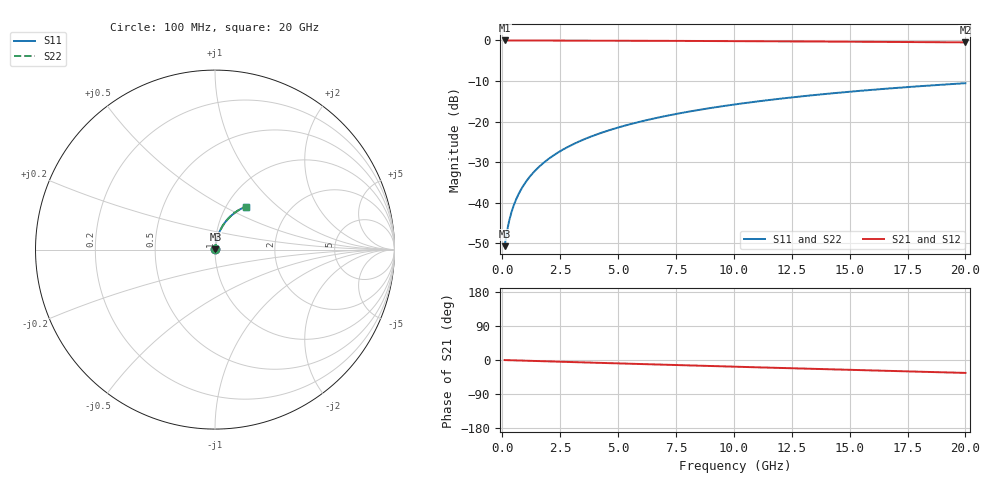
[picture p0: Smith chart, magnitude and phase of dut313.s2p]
! Touchstone file exported from HFSS 2026.1.0
!  File:  C:/ffzhzh/LocalFiles/Ansys_Project_Files/temp_train_TMRDL_313_1783003310_46388.aedt
!  Generated:  10:43:07 PM Jul  2, 2026
!  Design:  TMRDL
!  Project:  temp_train_TMRDL_313_1783003310_46388
! Variables:
!  h_bsmrdl = 2um
!  h_ox = 20um
!  h_rdl = 5um
!  h_sub = 80um
!  h_tmrdl = 4.65um
!  h_tsv = 80um
!  h_via = 3um
!  l_bsmrdl = 300um
!  l_sub = 906.75um
!  l_tmrdl = 506.75um
!  m_sub = 200um
!  pitch = 40.27um
!  r_tsv = 6um
!  s_tmrdl = 10um
!  w_bsmrdl = 18um
!  w_sub = 500um
!  w_tmrdl = 18.71um
!  x_tsv_center1 = 516.105um
!  x_tsv_center2 = 834.105um
!  x_tsv_center3 = 1359.565um
!  x_tsv_center4 = 1677.565um
!  x_tsv_center5 = 2203.025um
!  x_tsv_center6 = 2521.025um
# GHz S MA R 50.000000
! Terminal data exported
! Port[1] = TM_RDL1_1_T1
! Port[2] = TM_RDL1_1_T2
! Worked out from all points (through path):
!   200 points, 100 MHz to 20 GHz, reference 50 ohm
!   highest |S21| = -0.02 dB at 100 MHz (marker M1); lowest = -0.5 dB at 20 GHz (marker M2)
!   group delay of S21, straight-line fit = 4.73 ps
!   lowest |S11| = -50.7 dB at 100 MHz (marker M3), VSWR 1.01, Z = 50.2 + j0.19 ohm
!   |S11| at or under -10 dB: start of sweep to end of sweep
!   |S22| runs from -50.7 to -10.6 dB; largest |S21 - S12| = 3.5e-15
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0.1  0.002914 40.5  0.9978 -0.2  0.9978 -0.2  0.002914 40.5
! Gamma 0 0 0 0
! Port Impedance 50 0 50 0
0.2  0.004404 57.9  0.9977 -0.4  0.9977 -0.4  0.004405 57.9
0.3  0.006042 65.6  0.9975 -0.6  0.9975 -0.6  0.006043 65.6
0.4  0.007701 69.9  0.9974 -0.7  0.9974 -0.7  0.007702 69.9
0.5  0.009362 72.7  0.9974 -0.9  0.9974 -0.9  0.009364 72.7
0.6  0.01103 74.7  0.9973 -1.1  0.9973 -1.1  0.01103 74.7
0.8  0.01437 77.2  0.9972 -1.5  0.9972 -1.5  0.01438 77.2
1.1  0.01943 79.3  0.997 -2.0  0.997 -2.0  0.01943 79.3
1.3  0.02281 80.0  0.9968 -2.4  0.9968 -2.4  0.02282 80.0
1.6  0.0279 80.6  0.9966 -2.9  0.9966 -2.9  0.0279 80.6
2.1  0.03637 80.9  0.996 -3.8  0.996 -3.8  0.03637 80.9
2.7  0.04648 80.6  0.9953 -4.9  0.9953 -4.9  0.04648 80.6
3.5  0.05983 79.7  0.9941 -6.3  0.9941 -6.3  0.05983 79.7
4.2  0.07136 78.7  0.9929 -7.6  0.9929 -7.6  0.07137 78.7
5  0.08438 77.6  0.9913 -9.0  0.9913 -9.0  0.08438 77.6
5.9  0.0988 76.2  0.9895 -10.5  0.9895 -10.5  0.0988 76.2
6.8  0.113 74.8  0.9874 -12.1  0.9874 -12.1  0.113 74.8
8.3  0.1362 72.4  0.9838 -14.7  0.9838 -14.7  0.1362 72.4
10.1  0.1634 69.5  0.9789 -17.8  0.9789 -17.8  0.1634 69.5
13.4  0.211 64.3  0.9688 -23.3  0.9688 -23.3  0.211 64.3
16.7  0.2556 59.1  0.9573 -28.8  0.9573 -28.8  0.2556 59.1
20  0.2967 54.0  0.9448 -34.1  0.9448 -34.1  0.2967 54.0
